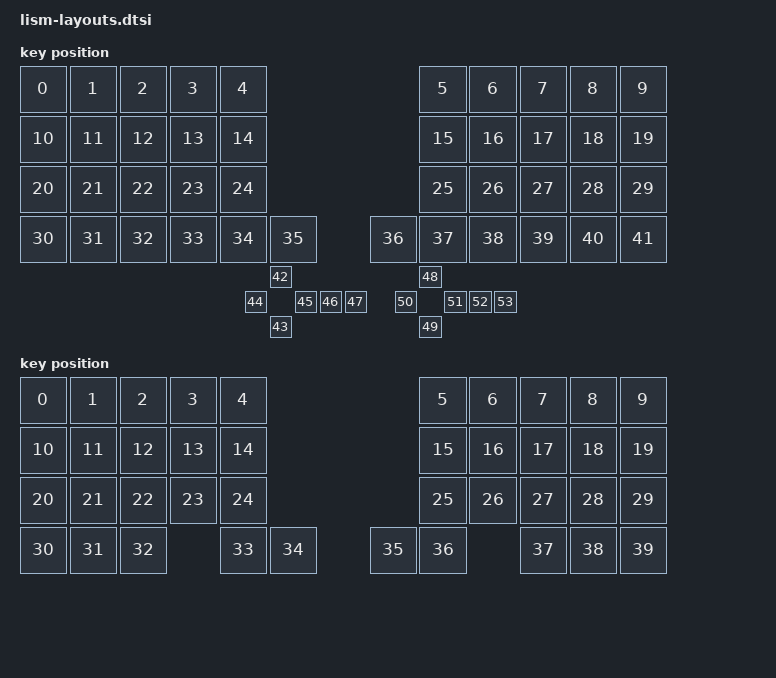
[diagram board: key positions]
#include <physical_layouts.dtsi>

/ {
    physical_42key_layout: physical_42key_layout {
        compatible = "zmk,physical-layout";
        display-name = "42 Keys + JP19 + Circle Pad";
        transform = <&transform_42keymap>;
        keys  //                     w   h    x    y     rot    rx    ry
            = <&key_physical_attrs 100 100    0    0       0     0     0>
            , <&key_physical_attrs 100 100  100    0       0     0     0>
            , <&key_physical_attrs 100 100  200    0       0     0     0>
            , <&key_physical_attrs 100 100  300    0       0     0     0>
            , <&key_physical_attrs 100 100  400    0       0     0     0>
            , <&key_physical_attrs 100 100  800    0       0     0     0>
            , <&key_physical_attrs 100 100  900    0       0     0     0>
            , <&key_physical_attrs 100 100 1000    0       0     0     0>
            , <&key_physical_attrs 100 100 1100    0       0     0     0>
            , <&key_physical_attrs 100 100 1200    0       0     0     0>
            , <&key_physical_attrs 100 100    0  100       0     0     0>
            , <&key_physical_attrs 100 100  100  100       0     0     0>
            , <&key_physical_attrs 100 100  200  100       0     0     0>
            , <&key_physical_attrs 100 100  300  100       0     0     0>
            , <&key_physical_attrs 100 100  400  100       0     0     0>
            , <&key_physical_attrs 100 100  800  100       0     0     0>
            , <&key_physical_attrs 100 100  900  100       0     0     0>
            , <&key_physical_attrs 100 100 1000  100       0     0     0>
            , <&key_physical_attrs 100 100 1100  100       0     0     0>
            , <&key_physical_attrs 100 100 1200  100       0     0     0>
            , <&key_physical_attrs 100 100    0  200       0     0     0>
            , <&key_physical_attrs 100 100  100  200       0     0     0>
            , <&key_physical_attrs 100 100  200  200       0     0     0>
            , <&key_physical_attrs 100 100  300  200       0     0     0>
            , <&key_physical_attrs 100 100  400  200       0     0     0>
            , <&key_physical_attrs 100 100  800  200       0     0     0>
            , <&key_physical_attrs 100 100  900  200       0     0     0>
            , <&key_physical_attrs 100 100 1000  200       0     0     0>
            , <&key_physical_attrs 100 100 1100  200       0     0     0>
            , <&key_physical_attrs 100 100 1200  200       0     0     0>
            , <&key_physical_attrs 100 100    0  300       0     0     0>
            , <&key_physical_attrs 100 100  100  300       0     0     0>
            , <&key_physical_attrs 100 100  200  300       0     0     0>
            , <&key_physical_attrs 100 100  300  300       0     0     0>
            , <&key_physical_attrs 100 100  400  300       0     0     0>
            , <&key_physical_attrs 100 100  500  300       0     0     0>
            , <&key_physical_attrs 100 100  700  300       0     0     0>
            , <&key_physical_attrs 100 100  800  300       0     0     0>
            , <&key_physical_attrs 100 100  900  300       0     0     0>
            , <&key_physical_attrs 100 100 1000  300       0     0     0>
            , <&key_physical_attrs 100 100 1100  300       0     0     0>
            , <&key_physical_attrs 100 100 1200  300       0     0     0>
            , <&key_physical_attrs  50  50  500  400       0     0     0> /* JP19 W */
            , <&key_physical_attrs  50  50  500  500       0     0     0> /* JP19 S */
            , <&key_physical_attrs  50  50  450  450       0     0     0> /* JP19 A */
            , <&key_physical_attrs  50  50  550  450       0     0     0> /* JP19 D */
            , <&key_physical_attrs  50  50  600  450       0     0     0> /* JP19 push */
            , <&key_physical_attrs  50  50  650  450       0     0     0> /* JP19 sprint */
            , <&key_physical_attrs  50  50  800  400       0     0     0> /* Circle Pad W */
            , <&key_physical_attrs  50  50  800  500       0     0     0> /* Circle Pad S */
            , <&key_physical_attrs  50  50  750  450       0     0     0> /* Circle Pad A */
            , <&key_physical_attrs  50  50  850  450       0     0     0> /* Circle Pad D */
            , <&key_physical_attrs  50  50  900  450       0     0     0> /* unused push */
            , <&key_physical_attrs  50  50  950  450       0     0     0> /* Circle Pad sprint */
            ;
    };

    physical_40key_layout: physical_40key_layout {
        compatible = "zmk,physical-layout";
        display-name = "40-Key Layout";
        transform = <&transform_40keymap>;
        keys  //                     w   h    x    y     rot    rx    ry
            = <&key_physical_attrs 100 100    0    0       0     0     0>
            , <&key_physical_attrs 100 100  100    0       0     0     0>
            , <&key_physical_attrs 100 100  200    0       0     0     0>
            , <&key_physical_attrs 100 100  300    0       0     0     0>
            , <&key_physical_attrs 100 100  400    0       0     0     0>
            , <&key_physical_attrs 100 100  800    0       0     0     0>
            , <&key_physical_attrs 100 100  900    0       0     0     0>
            , <&key_physical_attrs 100 100 1000    0       0     0     0>
            , <&key_physical_attrs 100 100 1100    0       0     0     0>
            , <&key_physical_attrs 100 100 1200    0       0     0     0>
            , <&key_physical_attrs 100 100    0  100       0     0     0>
            , <&key_physical_attrs 100 100  100  100       0     0     0>
            , <&key_physical_attrs 100 100  200  100       0     0     0>
            , <&key_physical_attrs 100 100  300  100       0     0     0>
            , <&key_physical_attrs 100 100  400  100       0     0     0>
            , <&key_physical_attrs 100 100  800  100       0     0     0>
            , <&key_physical_attrs 100 100  900  100       0     0     0>
            , <&key_physical_attrs 100 100 1000  100       0     0     0>
            , <&key_physical_attrs 100 100 1100  100       0     0     0>
            , <&key_physical_attrs 100 100 1200  100       0     0     0>
            , <&key_physical_attrs 100 100    0  200       0     0     0>
            , <&key_physical_attrs 100 100  100  200       0     0     0>
            , <&key_physical_attrs 100 100  200  200       0     0     0>
            , <&key_physical_attrs 100 100  300  200       0     0     0>
            , <&key_physical_attrs 100 100  400  200       0     0     0>
            , <&key_physical_attrs 100 100  800  200       0     0     0>
            , <&key_physical_attrs 100 100  900  200       0     0     0>
            , <&key_physical_attrs 100 100 1000  200       0     0     0>
            , <&key_physical_attrs 100 100 1100  200       0     0     0>
            , <&key_physical_attrs 100 100 1200  200       0     0     0>
            , <&key_physical_attrs 100 100    0  300       0     0     0>
            , <&key_physical_attrs 100 100  100  300       0     0     0>
            , <&key_physical_attrs 100 100  200  300       0     0     0>
            , <&key_physical_attrs 100 100  400  300       0     0     0>
            , <&key_physical_attrs 100 100  500  300       0     0     0>
            , <&key_physical_attrs 100 100  700  300       0     0     0>
            , <&key_physical_attrs 100 100  800  300       0     0     0>
            , <&key_physical_attrs 100 100 1000  300       0     0     0>
            , <&key_physical_attrs 100 100 1100  300       0     0     0>
            , <&key_physical_attrs 100 100 1200  300       0     0     0>
            ;
    };

    position_map {
        compatible = "zmk,physical-layout-position-map";

        physical_42key_layout {
            physical-layout = <&physical_42key_layout>;
            positions = < 0  1  2  3  4  5  6  7  8  9>
                      , <10 11 12 13 14 15 16 17 18 19>
                      , <20 21 22 23 24 25 26 27 28 29>
                      , <30 31 32 33 34 35 36 37 38 39>
                      , <40 41>
                      , <42 43 44 45 46 47 48 49 50 51 52 53>;
        };

        physical_40key_layout {
            physical-layout = <&physical_40key_layout>;
            positions = < 0  1  2  3  4  5  6  7  8  9>
                      , <10 11 12 13 14 15 16 17 18 19>
                      , <20 21 22 23 24 25 26 27 28 29>
                      , <30 31 32 40 33 34 35 36 41 37>
                      , <38 39>;
        };
    };

};
